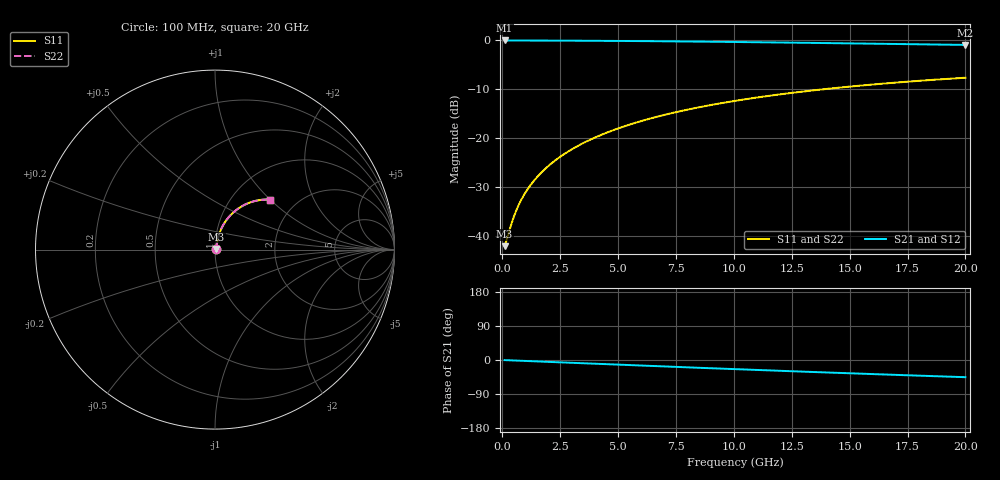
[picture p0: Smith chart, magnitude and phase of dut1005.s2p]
! Touchstone file exported from HFSS 2026.1.0
!  File:  C:/ffzhzh/LocalFiles/Ansys_Project_Files/temp_train_BSMRDL_1005_1783173174_55132.aedt
!  Generated:  09:54:04 PM Jul  4, 2026
!  Design:  BSMRDL
!  Project:  temp_train_BSMRDL_1005_1783173174_55132
! Variables:
!  h_bsmrdl = 2.4um
!  h_ox = 20um
!  h_rdl = 5um
!  h_sub = 80um
!  h_tmrdl = 5um
!  h_tsv = 80um
!  h_via = 3um
!  l_bsmrdl = 682.06um
!  l_sub = 1082.06um
!  l_tmrdl = 200um
!  m_sub = 200um
!  pitch = 31.79um
!  r_tsv = 6um
!  s_tmrdl = 10um
!  w_bsmrdl = 13.74um
!  w_sub = 500um
!  w_tmrdl = 12um
!  x_tsv_center1 = 206um
!  x_tsv_center2 = 901.8um
!  x_tsv_center3 = 1113.8um
!  x_tsv_center4 = 1809.6um
!  x_tsv_center5 = 2021.6um
!  x_tsv_center6 = 2717.4um
# GHz S MA R 50.000000
! Terminal data exported
! Port[1] = BSM_RDL1_1_T1
! Port[2] = BSM_RDL1_1_T2
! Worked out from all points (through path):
!   200 points, 100 MHz to 20 GHz, reference 50 ohm
!   highest |S21| = -0.06 dB at 100 MHz (marker M1); lowest = -1.0 dB at 20 GHz (marker M2)
!   group delay of S21, straight-line fit = 6.31 ps
!   lowest |S11| = -42.0 dB at 100 MHz (marker M3), VSWR 1.02, Z = 50.7 + j0.281 ohm
!   |S11| at or under -10 dB: start of sweep to 13.91 GHz
!   |S22| runs from -42.0 to -7.7 dB; largest |S21 - S12| = 3.9e-15
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0.1  0.0079 20.5  0.9926 -0.3  0.9926 -0.3  0.0079 20.5
! Gamma 0 0 0 0
! Port Impedance 50 0 50 0
0.2  0.009331 36.2  0.9925 -0.5  0.9925 -0.5  0.009331 36.2
0.4  0.01349 53.8  0.9922 -1.0  0.9922 -1.0  0.01349 53.8
0.6  0.01819 62.0  0.9917 -1.5  0.9917 -1.5  0.01819 62.0
0.7  0.0206 64.5  0.9915 -1.8  0.9915 -1.8  0.0206 64.5
0.9  0.02543 68.0  0.9911 -2.3  0.9911 -2.3  0.02543 68.0
1.1  0.03027 70.3  0.9908 -2.8  0.9908 -2.8  0.03027 70.3
1.3  0.03513 71.9  0.9905 -3.3  0.9905 -3.3  0.03513 71.9
1.7  0.04489 73.9  0.9898 -4.2  0.9898 -4.2  0.04489 73.9
2.2  0.05716 75.0  0.9889 -5.5  0.9889 -5.5  0.05716 75.0
2.8  0.07192 75.3  0.9878 -6.9  0.9878 -6.9  0.07192 75.3
3.5  0.08912 75.0  0.9861 -8.6  0.9861 -8.6  0.08912 75.0
4.2  0.1062 74.2  0.9842 -10.3  0.9842 -10.3  0.1062 74.2
5  0.1256 72.9  0.9816 -12.3  0.9816 -12.3  0.1256 72.9
5.9  0.147 71.3  0.9783 -14.4  0.9783 -14.4  0.147 71.3
6.8  0.1681 69.6  0.9746 -16.6  0.9746 -16.6  0.1681 69.6
8.3  0.2022 66.5  0.9674 -20.1  0.9674 -20.1  0.2022 66.5
10.1  0.2412 62.7  0.9577 -24.3  0.9577 -24.3  0.2412 62.7
11.7  0.274 59.3  0.9482 -27.9  0.9482 -27.9  0.274 59.3
13.4  0.3067 55.7  0.9374 -31.6  0.9374 -31.6  0.3068 55.7
16.7  0.3642 48.9  0.9157 -38.7  0.9157 -38.7  0.3642 48.9
20  0.4135 42.4  0.8939 -45.4  0.8939 -45.4  0.4135 42.4
